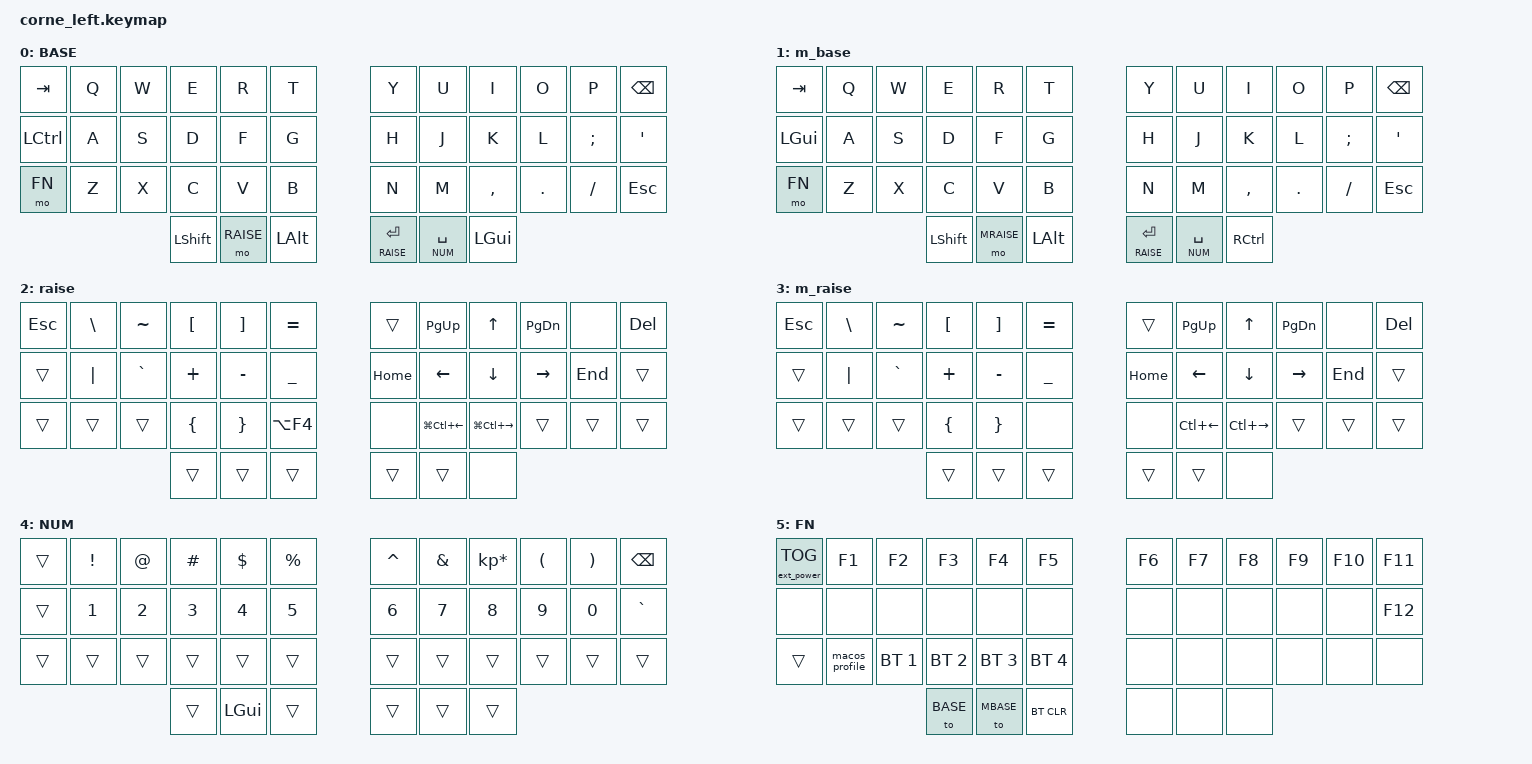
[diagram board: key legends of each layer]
/*
 * Copyright (c) 2020 The ZMK Contributors
 *
 * SPDX-License-Identifier: MIT
 */

#include <behaviors.dtsi>
#include <dt-bindings/zmk/keys.h>
#include <dt-bindings/zmk/bt.h>
#include <dt-bindings/zmk/outputs.h>
#include <dt-bindings/zmk/ext_power.h>
#include <dt-bindings/led/led.h>
#include <dt-bindings/zmk/reset.h>

#define BASE 0
#define MBASE 1
#define RAISE 2
#define MRAISE 3
#define NUM 4
#define FN 5

&kscan0 {
    col-gpios
        = <&gpio0 31 GPIO_ACTIVE_HIGH>
        , <&gpio0 29 GPIO_ACTIVE_HIGH>
        , <&gpio0 2 GPIO_ACTIVE_HIGH>
        , <&gpio1 15 GPIO_ACTIVE_HIGH>
        , <&gpio1 13 GPIO_ACTIVE_HIGH>
        , <&gpio1 11 GPIO_ACTIVE_HIGH>;
};

/ {
    macros {
        macos_profile: macos_profile {
            compatible = "zmk,behavior-macro";
            #binding-cells = <0>;

            bindings =
                <&bt BT_SEL 0>
                , <&to MBASE>
                ;
        };
    };

    keymap {
        compatible = "zmk,keymap";

        base_layer {
            display-name = "BASE";
            // -----------------------------------------------------------------------------------------
            // |  TAB |  Q  |  W  |  E  |  R  |  T  |   |  Y  |  U   |  I  |  O  |  P  | BKSP |
            // | CTRL |  A  |  S  |  D  |  F  |  G  |   |  H  |  J   |  K  |  L  |  ;  |  '   |
            // |  FN  |  Z  |  X  |  C  |  V  |  B  |   |  N  |  M   |  ,  |  .  |  /  | ESC  |
            //                    | SHIFT | RAISE | ALT |   | ENTER | NUM  | WIN |

            bindings = <
&kp TAB    &kp Q  &kp W  &kp E     &kp R  &kp T        &kp Y    &kp U  &kp I      &kp O    &kp P     &kp BSPC
&kp LCTRL  &kp A  &kp S  &kp D     &kp F  &kp G        &kp H    &kp J  &kp K      &kp L    &kp SEMI  &kp SQT
&mo FN  &kp Z  &kp X  &kp C     &kp V  &kp B        &kp N    &kp M  &kp COMMA  &kp DOT  &kp FSLH  &kp ESC
                         &kp LSHIFT  &mo RAISE  &kp LALT    &lt RAISE ENTER  &lt NUM SPACE  &kp LGUI
            >;
        };

        macos_base_layer {
            display-name = "m_base";
            // -----------------------------------------------------------------------------------------
            // |  TAB |  Q  |  W  |  E  |  R  |  T  |   |  Y  |  U   |  I  |  O  |  P  | BKSP |
            // | CTRL |  A  |  S  |  D  |  F  |  G  |   |  H  |  J   |  K  |  L  |  ;  |  '   |
            // |  FN  |  Z  |  X  |  C  |  V  |  B  |   |  N  |  M   |  ,  |  .  |  /  | ESC  |
            //                    | SHIFT | RAISE | OPT |   | ENTER | NUM  | CTRL |

            bindings = <
&kp TAB    &kp Q  &kp W  &kp E     &kp R  &kp T        &kp Y    &kp U  &kp I      &kp O    &kp P     &kp BSPC
&kp LGUI  &kp A  &kp S  &kp D     &kp F  &kp G        &kp H    &kp J  &kp K      &kp L    &kp SEMI  &kp SQT
&mo FN  &kp Z  &kp X  &kp C     &kp V  &kp B        &kp N    &kp M  &kp COMMA  &kp DOT  &kp FSLH  &kp ESC
                         &kp LSHIFT  &mo MRAISE  &kp LALT    &lt RAISE ENTER  &lt NUM SPACE  &kp RCTRL
            >;
        };

        raise_layer {
            display-name = "raise";
// ------------------------------------------------------------------------------------------------------------
// |  ESC  |   \  |   ~  |   [   |   ]   |   =   |                |        | PGUP |   ^   | PGDN |       | DELETE|
// |       |   |  |   `  |   +   |   -   |   _   |                |  HOME  |   <- |   v   |  ->  | END   |       |
// |       |      |      |   {   |   }   | ALTF4 |                |        |LDESK |  RDESK|      |       |       |
//                |      |       |       |       |      |  |      |        |      |       |      |
            bindings = <
&kp ESC       &kp BSLH      &kp TILDE     &kp LBKT       &kp RBKT        &kp EQUAL                                   &trans    &kp PG_UP  &kp UP    &kp PG_DN   &none    &kp DELETE
&trans       &kp PIPE      &kp GRAVE     &kp PLUS        &kp MINUS       &kp UNDER                                   &kp HOME  &kp LEFT   &kp DOWN  &kp RIGHT   &kp END   &trans
&trans       &trans        &trans        &kp LBRC        &kp RBRC        &kp LA(F4)         &none         &kp LG(LC(LEFT))     &kp LG(LC(RIGHT))   &trans    &trans    &trans
                                      &trans    &trans     &trans        &trans  &trans    &none
            >;
        };

                macos_raise_layer {
            display-name = "m_raise";
// ------------------------------------------------------------------------------------------------------------
// |  ESC  |   \  |   ~  |   [   |   ]   |   =   |                |        | PGUP |   ^   | PGDN |       | DELETE|
// |       |   |  |   `  |   +   |   -   |   _   |                |  HOME  |   <- |   v   |  ->  | END   |       |
// |       |      |      |   {   |   }   | ALTF4 |                |        |LDESK |  RDESK|      |       |       |
//                |      |       |       |       |      |  |      |        |      |       |      |
            bindings = <
&kp ESC       &kp BSLH      &kp TILDE     &kp LBKT       &kp RBKT        &kp EQUAL                                   &trans    &kp PG_UP  &kp UP    &kp PG_DN   &none    &kp DELETE
&trans       &kp PIPE      &kp GRAVE     &kp PLUS        &kp MINUS       &kp UNDER                                   &kp HOME  &kp LEFT   &kp DOWN  &kp RIGHT   &kp END   &trans
&trans       &trans        &trans        &kp LBRC        &kp RBRC        &none         &none         &kp LC(LEFT)     &kp LC(RIGHT)   &trans    &trans    &trans
                                      &trans    &trans     &trans        &trans  &trans    &none
            >;
        };

        num_layer {
            display-name = "NUM";
            // -----------------------------------------------------------------------------------------
            // |      |  !  |  @  |  #  |  $  |  %  |   |  ^  |  &  |  *  |  (  |  )  |      |
            // |      |  1  |  2  |  3  |  4  |  5  |   |  6  |  7  |  8  |  9  |  0  |      |
            // |      |     |     |     |     |     |   |     |     |     |     |     |      |
            //                    |     | WIN |     |   |     |     |     |

            bindings = <
&trans    &kp EXCL  &kp AT  &kp HASH   &kp DLLR  &kp PRCNT    &kp CARET  &kp AMPS   &kp KP_MULTIPLY  &kp LPAR  &kp RPAR  &kp BSPC
&trans   &kp N1    &kp N2  &kp N3  &kp N4    &kp N5    &kp N6  &kp N7  &kp N8         &kp N9  &kp N0  &kp GRAVE
&trans  &trans    &trans  &trans     &trans    &trans       &trans  &trans   &trans         &trans  &trans  &trans
                             &trans   &kp LGUI    &trans    &trans    &trans     &trans
            >;
        };

    fn_layer {
            display-name = "FN";
// ------------------------------------------------------------------------------------------------------------
// |EP_TOG |  F1 |  F2 |  F3  |  F4  |  F5  |                   |  F6  |  F7   |  F8   |  F9  |  F10  |  F11  |
// |       |  p1 |  p2 |  p3  |  p4  |  p5  |                   |      |       |       |      |       |  F12  |
// |       |  bt0|  bt1|  bt2 |  bt3 |  bt4 |                   |      |       |       |      |       |       |
//                            |WINBASE  | MBASE     |  BTCLR  |  |      |      |       |
            bindings = <
&ext_power EP_TOG    &kp F1    &kp F2    &kp F3      &kp F4    &kp F5                                           &kp F6    &kp F7   &kp F8    &kp F9    &kp F10   &kp F11
&none &none    &none    &none      &none    &none                                           &none &none  &none  &none  &none  &kp F12
&trans   &macos_profile  &bt BT_SEL 1  &bt BT_SEL 2  &bt BT_SEL 3  &bt BT_SEL 4                    &none  &none  &none  &none  &none  &none
                    &to BASE         &to MBASE    &bt BT_CLR             &none       &none     &none
            >;
};
};
};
